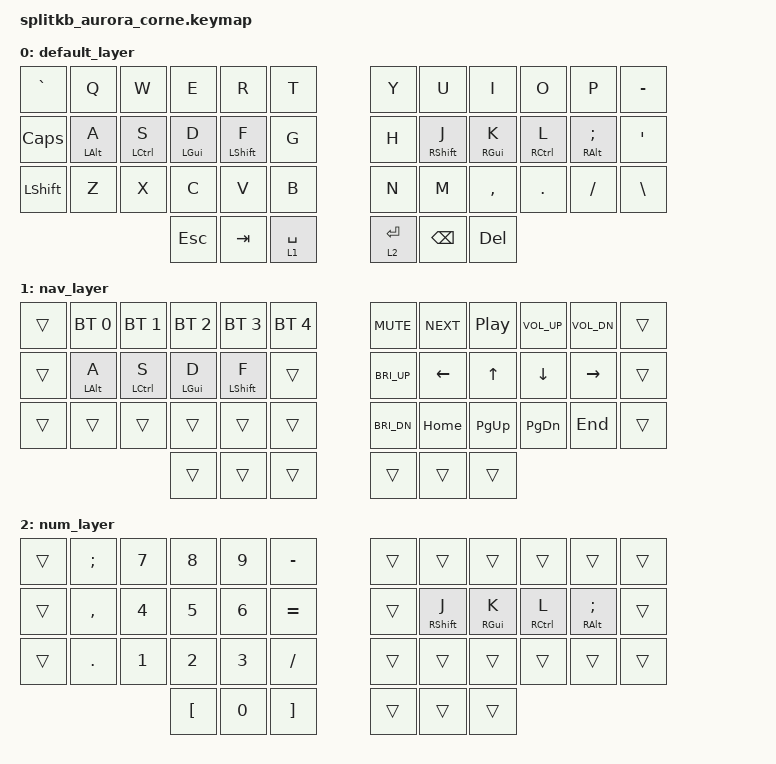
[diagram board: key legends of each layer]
/*
 * Copyright (c) 2020 The ZMK Contributors
 *
 * SPDX-License-Identifier: MIT
 */

#include <behaviors.dtsi>
#include <dt-bindings/zmk/keys.h>
#include <dt-bindings/zmk/bt.h>

/ {
        keymap {
                compatible = "zmk,keymap";

                default_layer {
// -----------------------------------------------------------------------------------------
// | `       |  Q  |  W  |  E  |  R  |  T  |   |  Y  |  U   |  I  |  O  |  P  |  -      |
// | CAPS    |  A  |  S  |  D  |  F  |  G  |   |  H  |  J   |  K  |  L  |  ;  |  '      |
// | SHFT    |  Z  |  X  |  C  |  V  |  B  |   |  N  |  M   |  ,  |  .  |  /  |  \      |
//                       | ESC | TAB | SPC |   | ENT | BKSP | DEL |
                        bindings = <
   &kp GRAVE  &kp Q      &kp W       &kp E      &kp R        &kp T     &kp Y &kp U       &kp I      &kp O       &kp P         &kp MINUS
   &kp CAPS   &mt LALT A &mt LCTRL S &mt LGUI D &mt LSHIFT F &kp G     &kp H &mt RSHFT J &mt RGUI K &mt RCTRL L &mt RALT SEMI &kp SQT
   &kp LSHFT  &kp Z      &kp X       &kp C      &kp V        &kp B     &kp N &kp M       &kp COMMA  &kp DOT     &kp FSLH      &kp BSLH
                                      &kp ESC  &kp TAB &lt 1 SPACE     &lt 2 RET &kp BSPC &kp DEL
                        >;
                };
                nav_layer {
// -----------------------------------------------------------------------------------------
// |          | BT0 | BT1  | BT2 | BT3  | BT4 |   | MUTE       | NEXT | PP    | VOL UP  | VOL DOWN |         |
// |          | ALT | CTRL | CMD | SHFT |     |   | BRGHT UP   | LEFT | UP    | DOWN    | RIGHT    |         |
// |          |     |      |     |      |     |   | BRGHT DOWN | HOME | PG UP | PG DOWN | END      |         |
//                         |     |      |     |   |      |       |         |
                        bindings = <
   &trans &bt BT_SEL 0 &bt BT_SEL 1  &bt BT_SEL 2 &bt BT_SEL 3 &bt BT_SEL 4   &kp C_MUTE   &kp C_NEXT &kp C_PP   &kp C_VOL_UP &kp C_VOL_DN &trans
   &trans &mt LALT A   &mt LCTRL S   &mt LGUI D   &mt LSHIFT F &trans         &kp C_BRI_UP &kp LEFT   &kp UP     &kp DOWN     &kp RIGHT    &trans
   &trans &trans       &trans        &trans       &trans       &trans         &kp C_BRI_DN &kp HOME   &kp PG_UP  &kp PG_DN    &kp END      &trans 
                                        &trans    &trans       &trans         &trans     &trans     &trans
                        >;
                };

                num_layer {
// -----------------------------------------------------------------------------------------
// |         | ; | 7 |  8 | 9 | - |      |  |      |     |      |     |         |
// |         | , | 4 |  5 | 6 | = |      |  | SHFT | CMD | CTRL | ALT |         |
// |         | . | 1 |  2 | 3 | / |      |  |      |     |      |     |         |
//                   | [  | 0 | ] |      |  |      |     |
                        bindings = <
   &trans    &kp SEMI  &kp N7 &kp N8 &kp N9 &kp MINUS     &trans &trans      &trans     &trans      &trans        &trans
   &trans    &kp COMMA &kp N4 &kp N5 &kp N6 &kp EQUAL     &trans &mt RSHFT J &mt RGUI K &mt RCTRL L &mt RALT SEMI &trans
   &trans    &kp DOT   &kp N1 &kp N2 &kp N3 &kp SLASH     &trans &trans      &trans     &trans      &trans        &trans
                            &kp LBKT  &kp N0 &kp RBKT     &trans &trans &trans 
                        >;
                };
        };
};
